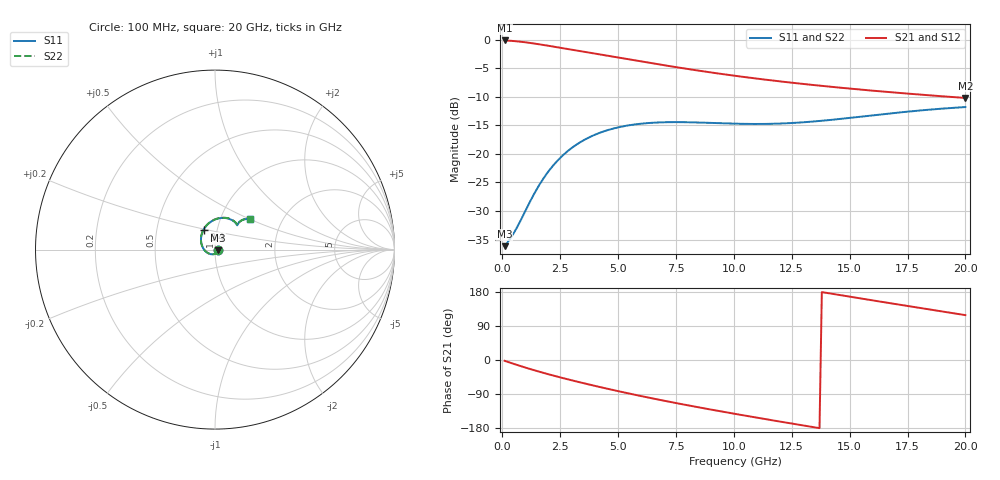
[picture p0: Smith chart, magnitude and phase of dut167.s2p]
! Touchstone file exported from HFSS 2024.1.0
!  File:  C:/UserFiles/LocalFiles/RDL_TSV_Batchsim/temp_RDL_TSV_167_1779435650.aedt
!  Generated:  03:52:34 PM May 22, 2026
!  Design:  RDL_TSV
!  Project:  temp_RDL_TSV_167_1779435650
!  Setup:  Setup1
!  Solution:  Sweep
! Variables:
!  dtsv = 12.95um
!  hbump = 3um
!  htsv = 77.09um
!  ldown = 658.2um
!  lrdl = 393.22um
!  p = 40
!  p1 = 43.18um
!  rhole = 10um
!  subl = 3547.48um
!  t = 450um
!  tdown = 4.26um
!  trdl = 2.81um
!  viad = 10um
!  wdown = 24.19um
!  wrdl = 25.16um
!  xbump = 18um
# GHz S MA R 50.000000
! Terminal data exported
! Port[1] = TM1_1_T1
! Port[2] = TM1_4_T1
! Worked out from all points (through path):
!   200 points, 100 MHz to 20 GHz, reference 50 ohm
!   highest |S21| = -0.14 dB at 100 MHz (marker M1); lowest = -10.2 dB at 20 GHz (marker M2)
!   group delay of S21, straight-line fit = 31.9 ps
!   lowest |S11| = -36.2 dB at 100 MHz (marker M3), VSWR 1.03, Z = 51.5 - j0.321 ohm
!   |S11| at or under -10 dB: start of sweep to end of sweep
!   |S22| runs from -36.2 to -11.7 dB; largest |S21 - S12| = 1e-14
!   S11 on the Smith chart (normalised r, x): 100 MHz: 1.03, -0.01; 3.4 GHz: 0.86, +0.19; 20 GHz: 1.38, +0.50
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0.1  0.01556 -11.5  0.9839 -2.1  0.9839 -2.1  0.01556 -11.5
! Gamma 0 0 0 0
! Port Impedance 50 0 50 0
0.5  0.02032 -66.9  0.9722 -10.3  0.9722 -10.3  0.02031 -66.9
0.8  0.02631 -104.1  0.9589 -16.2  0.9589 -16.2  0.0263 -104.2
1.3  0.04187 -150.0  0.9301 -25.6  0.9301 -25.6  0.04194 -150.2
1.7  0.05774 -176.0  0.9037 -32.7  0.9037 -32.7  0.05792 -176.1
2.1  0.07492 164.0  0.8765 -39.4  0.8765 -39.4  0.07523 163.8
2.5  0.09222 147.7  0.8495 -45.9  0.8495 -45.9  0.09267 147.6
3.4  0.1277 120.0  0.7916 -59.6  0.7916 -59.6  0.1285 119.9
3.5  0.1312 117.4  0.7854 -61.1  0.7854 -61.1  0.132 117.3
4.2  0.1527 101.7  0.7432 -71.2  0.7432 -71.2  0.1537 101.7
5  0.1706 87.4  0.6975 -82.2  0.6975 -82.2  0.1718 87.4
5.9  0.1829 74.8  0.6496 -94.0  0.6496 -94.0  0.1843 74.7
6.8  0.1886 65.1  0.6058 -105.2  0.6058 -105.2  0.1902 65.1
7.6  0.1897 58.6  0.5704 -114.8  0.5704 -114.8  0.1913 58.6
8.4  0.1884 53.8  0.5385 -124.0  0.5385 -124.0  0.1901 53.8
10.1  0.1837 48.4  0.4811 -142.7  0.4811 -142.7  0.1854 48.4
11.7  0.1835 47.6  0.4382 -159.5  0.4382 -159.5  0.1851 47.5
13.4  0.1918 48.4  0.4014 -176.8  0.4014 -176.8  0.1933 48.3
15.1  0.2075 48.5  0.3714 166.2  0.3714 166.2  0.209 48.4
16.7  0.2254 47.1  0.3476 150.4  0.3476 150.4  0.2269 47.1
18.3  0.2425 44.5  0.3273 134.8  0.3273 134.8  0.2441 44.5
20  0.257 41.0  0.3088 118.4  0.3088 118.4  0.2587 41.0
